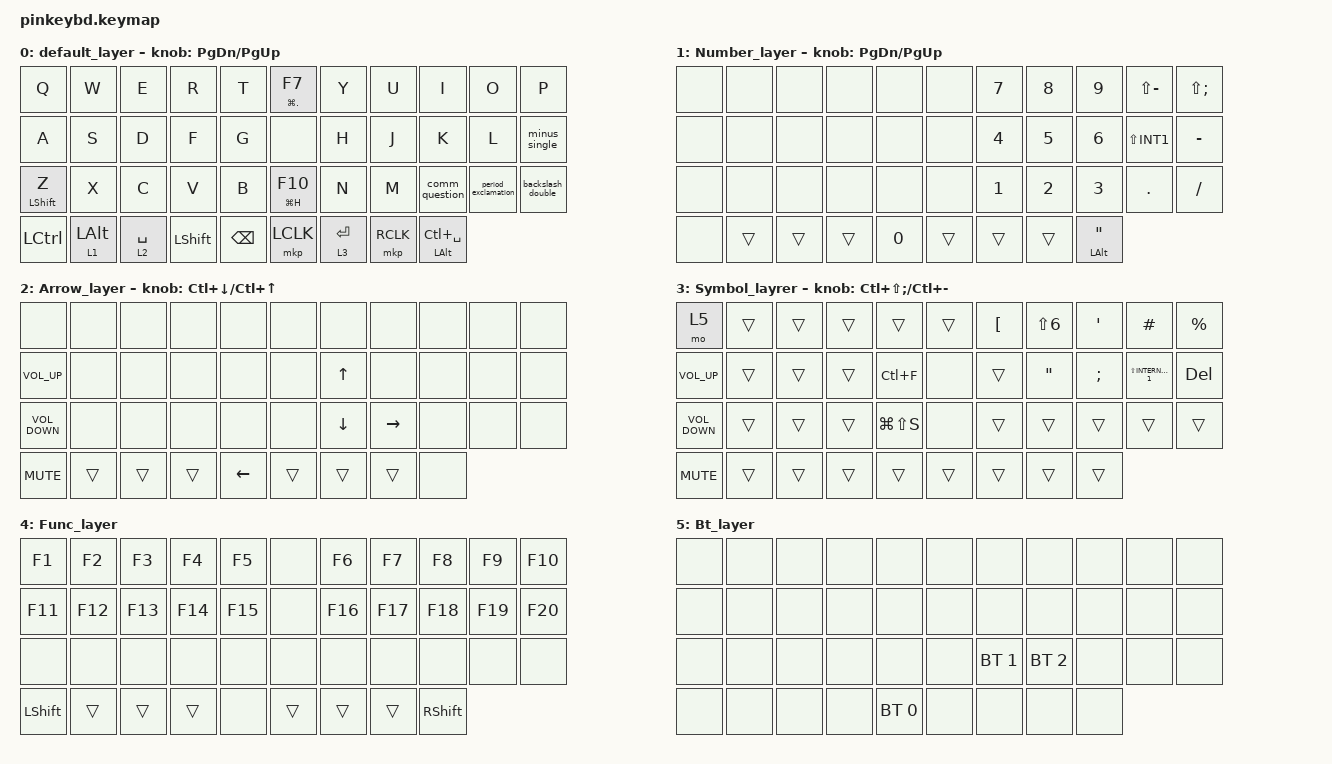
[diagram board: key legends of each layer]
#include <behaviors.dtsi>
#include <dt-bindings/zmk/bt.h>
#include <dt-bindings/zmk/keys.h>
#include <dt-bindings/zmk/pointing.h>

#define ZMK_POINTING_DEFAULT_SCRL_VAL 80

&lt {
    tapping-term-ms = <150>;
    flavor = "tap-preferred";
    require-prior-idle-ms = <0>;
};

&mt {
    tapping-term-ms = <150>;
    flavor = "tap-preferred";
};

/ {
    behaviors {
        rot_kp: sensor_rotate_kp {
            compatible = "zmk,behavior-sensor-rotate-var";
            #sensor-binding-cells = <2>;
            bindings = <&kp>, <&kp>;
        };

        comm_question: comm_question {
            compatible = "zmk,behavior-mod-morph";
            label = "COMM_QUESTION";
            bindings = <&kp COMMA>, <&kp LS(SLASH)>;

            #binding-cells = <0>;
            mods = <(MOD_LSFT)>;
        };

        minus_single: minus_single {
            compatible = "zmk,behavior-mod-morph";
            label = "MINUS_SINGLE";
            bindings = <&kp MINUS>, <&kp LS(N7)>;

            #binding-cells = <0>;
            mods = <(MOD_LSFT)>;
        };

        backslash_double: backslash_double {
            compatible = "zmk,behavior-mod-morph";
            label = "BACKSLASH_DOUBLE";
            bindings = <&kp SLASH>, <&kp AT_SIGN>;

            #binding-cells = <0>;
            mods = <(MOD_LSFT)>;
        };

        period_exclamation: period_exclamation {
            compatible = "zmk,behavior-mod-morph";
            label = "PERIOD_EXCLAMATION";
            bindings = <&kp PERIOD>, <&kp LS(NUMBER_1)>;

            #binding-cells = <0>;
            mods = <(MOD_LSFT)>;
        };
    };

    combos {
        compatible = "zmk,combos";

        lpare {
            bindings = <&kp LS(N8)>;
            key-positions = <3 2>;
            layers = <0 1>;
        };

        rpare {
            bindings = <&kp LS(N9)>;
            key-positions = <4 3>;
            layers = <0 1>;
        };

        lbracket {
            bindings = <&kp RIGHT_BRACKET>;
            key-positions = <14 13>;
            layers = <0 1>;
        };

        rbracket {
            bindings = <&kp NON_US_HASH>;
            key-positions = <14 15>;
            layers = <0 1>;
        };

        lessthan {
            bindings = <&kp LS(LESS_THAN)>;
            key-positions = <24 25>;
            layers = <0 1>;
        };

        morethan {
            bindings = <&kp RS(GREATER_THAN)>;
            key-positions = <25 26>;
            layers = <0 1>;
        };

        tab {
            bindings = <&kp TAB>;
            key-positions = <4 15>;
            layers = <0 1>;
        };
    };

    keymap {
        compatible = "zmk,keymap";

        // ---------------------------------------------------------------------------------------------------------------------------------------------------------------------------------------------------------------
        // |        /       |       ,       |       .       |      -        |      ;       |    ESC         |                   |           |       L      |       R       |       D       |       Y       |      P      |
        // |        A       |       O       |       E       |      I        |      U       |    SCROLLLOCK  |                   |           |       G      |       N       |       T       |       S       |      K      |
        // |        X       |       C       |       V       |      W        |      Q       |    TAB         |                   |     F     |       J      |       H       |       M       |       B       |      Z      |
        // |    L_SHIFT     |               |               |   LOWER / Jp  |    Space     |    LEFT_WIN    |                   |  R_SHIFT  |      ENTER   |  LOWER2 / Ja  |               |               |   FUN_L     |
        // ---------------------------------------------------------------------------------------------------------------------------------------------------------------------------------------------------------------

        default_layer {
            bindings = <
&kp Q             &kp W           &kp E        &kp R           &kp T          &mt LG(PERIOD) F7  &kp Y        &kp U      &kp I                   &kp O                &kp P
&kp A             &kp S           &kp D        &kp F           &kp G          &none              &kp H        &kp J      &kp K                   &kp L                &minus_single
&mt LEFT_SHIFT Z  &kp X           &kp C        &kp V           &kp B          &mt LG(H) F10      &kp N        &kp M      &comm_question          &period_exclamation  &backslash_double
&kp LEFT_CONTROL  &lt 1 LEFT_ALT  &lt 2 SPACE  &kp LEFT_SHIFT  &kp BACKSPACE  &mkp LCLK          &lt 3 ENTER  &mkp RCLK  &mt LEFT_ALT LC(SPACE)
            >;

            sensor-bindings = <&rot_kp PAGE_DOWN PAGE_UP>;
        };

        Number_layer {
            bindings = <
&none  &none   &none   &none   &none   &none   &kp N7        &kp N8        &kp N9                      &kp LS(MINUS)  &kp LS(SEMI)
&none  &none   &none   &none   &none   &none   &kp NUMBER_4  &kp N5        &kp NUMBER_6                &kp LS(INT1)   &kp MINUS
&none  &none   &none   &none   &none   &none   &kp NUMBER_1  &kp NUMBER_2  &kp NUMBER_3                &kp PERIOD     &kp SLASH
&none  &trans  &trans  &trans  &kp N0  &trans  &trans        &trans        &mt LEFT_ALT DOUBLE_QUOTES
            >;

            sensor-bindings = <&rot_kp PAGE_DOWN PAGE_UP>;
        };

        Arrow_layer {
            bindings = <
&none              &none   &none   &none   &none           &none   &none           &none            &none  &none  &none
&kp C_VOLUME_UP    &none   &none   &none   &none           &none   &kp UP_ARROW    &none            &none  &none  &none
&kp C_VOLUME_DOWN  &none   &none   &none   &none           &none   &kp DOWN_ARROW  &kp RIGHT_ARROW  &none  &none  &none
&kp C_MUTE         &trans  &trans  &trans  &kp LEFT_ARROW  &trans  &trans          &trans           &none
            >;

            sensor-bindings = <&rot_kp LC(DOWN_ARROW) LC(UP_ARROW)>;
        };

        Symbol_layrer {
            bindings = <
&mo 5              &trans  &trans  &trans  &trans         &trans  &kp LEFT_BRACKET  &kp LS(NUMBER_6)   &kp SQT        &kp HASH                 &kp PERCENT
&kp C_VOL_UP       &trans  &trans  &trans  &kp LC(F)      &none   &trans            &kp DOUBLE_QUOTES  &kp SEMICOLON  &kp LS(INTERNATIONAL_1)  &kp DEL
&kp C_VOLUME_DOWN  &trans  &trans  &trans  &kp LG(LS(S))  &none   &trans            &trans             &trans         &trans                   &trans
&kp C_MUTE         &trans  &trans  &trans  &trans         &trans  &trans            &trans             &trans
            >;

            sensor-bindings = <&inc_dec_kp LC(LS(SEMI)) LC(MINUS)>;
        };

        Func_layer {
            bindings = <
&kp F1      &kp F2   &kp F3   &kp F4   &kp F5   &none   &kp F6   &kp F7   &kp F8      &kp F9   &kp F10
&kp F11     &kp F12  &kp F13  &kp F14  &kp F15  &none   &kp F16  &kp F17  &kp F18     &kp F19  &kp F20
&none       &none    &none    &none    &none    &none   &none    &none    &none       &none    &none
&kp LSHIFT  &trans   &trans   &trans   &none    &trans  &trans   &trans   &kp RSHIFT
            >;
        };

        Bt_layer {
            bindings = <
&none  &none  &none  &none  &none         &none  &none         &none         &none  &none  &none
&none  &none  &none  &none  &none         &none  &none         &none         &none  &none  &none
&none  &none  &none  &none  &none         &none  &bt BT_SEL 1  &bt BT_SEL 2  &none  &none  &none
&none  &none  &none  &none  &bt BT_SEL 0  &none  &none         &none         &none
            >;
        };
    };
};
